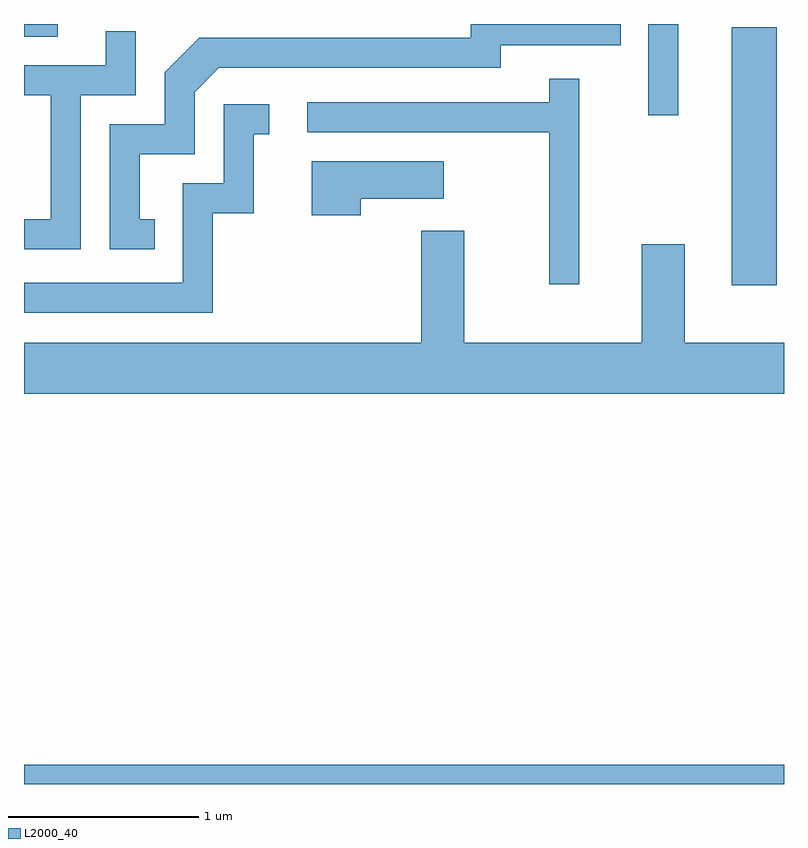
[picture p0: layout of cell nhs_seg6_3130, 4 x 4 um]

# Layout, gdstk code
import gdstk
lib = gdstk.Library(unit=1e-6, precision=1e-09)
def R(c, l, rs):  # rectangles x0, y0, x1, y1
    for r in rs: c.add(gdstk.rectangle(r[:2], r[2:], *l))
def P(c, l, *ps):  # polygons
    for p in ps: c.add(gdstk.Polygon(p, *l))
L2000_40 = (2000, 40)

nhs_seg6_3130 = lib.new_cell('nhs_seg6_3130')
R(nhs_seg6_3130, L2000_40, [(279.611,1590.162,283.611,1590.264), (283.336,1592.786,283.574,1594.144), (282.896,1593.683,283.054,1594.162), (279.611,1594.096,279.789,1594.162)])
P(nhs_seg6_3130, L2000_40, [(280.298,1593.134),(280.219,1593.134),(280.219,1593.476),(280.509,1593.476),(280.509,1593.804),(280.637,1593.931),(282.119,1593.931),(282.119,1594.051),(282.753,1594.051),(282.753,1594.162),(281.961,1594.162),(281.961,1594.089),(280.534,1594.089),(280.351,1593.907),(280.351,1593.634),(280.061,1593.634),(280.061,1592.976),(280.298,1592.976)],
  [(279.909,1593.786),(280.199,1593.786),(280.199,1594.123),(280.041,1594.123),(280.041,1593.944),(279.611,1593.944),(279.611,1593.786),(279.751,1593.786),(279.751,1593.134),(279.611,1593.134),(279.611,1592.976),(279.909,1592.976)],
  [(282.534,1593.873),(282.376,1593.873),(282.376,1593.749),(281.103,1593.749),(281.103,1593.591),(282.376,1593.591),(282.376,1592.793),(282.534,1592.793)],
  [(280.604,1593.166),(280.819,1593.166),(280.819,1593.581),(280.903,1593.581),(280.903,1593.739),(280.661,1593.739),(280.661,1593.324),(280.446,1593.324),(280.446,1592.799),(279.611,1592.799),(279.611,1592.641),(280.604,1592.641)],
  [(281.384,1593.241),(281.819,1593.241),(281.819,1593.439),(281.126,1593.439),(281.126,1593.156),(281.384,1593.156)],
  [(283.611,1592.484),(283.089,1592.484),(283.089,1593.004),(282.861,1593.004),(282.861,1592.484),(281.929,1592.484),(281.929,1593.074),(281.701,1593.074),(281.701,1592.484),(279.611,1592.484),(279.611,1592.216),(283.611,1592.216)])

lib.write_gds('nhs_seg6_3130.gds')
